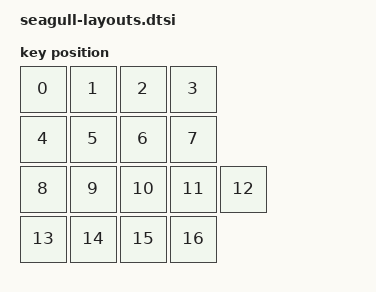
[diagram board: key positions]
#include <physical_layouts.dtsi>

/ {
    default_layout: physical_layout {
        compatible = "zmk,physical-layout";
        display-name = "Default";

        kscan = <&default_kscan>;
        transform = <&default_transform>;

        keys  //                     w   h    x    y     rot    rx    ry
            = <&key_physical_attrs 100 100    0    0       0     0     0>
            , <&key_physical_attrs 100 100  100    0       0     0     0>
            , <&key_physical_attrs 100 100  200    0       0     0     0>
            , <&key_physical_attrs 100 100  300    0       0     0     0>
            , <&key_physical_attrs 100 100    0  100       0     0     0>
            , <&key_physical_attrs 100 100  100  100       0     0     0>
            , <&key_physical_attrs 100 100  200  100       0     0     0>
            , <&key_physical_attrs 100 100  300  100       0     0     0>
            , <&key_physical_attrs 100 100    0  200       0     0     0>
            , <&key_physical_attrs 100 100  100  200       0     0     0>
            , <&key_physical_attrs 100 100  200  200       0     0     0>
            , <&key_physical_attrs 100 100  300  200       0     0     0>
            , <&key_physical_attrs 100 100  400  200       0     0     0>
            , <&key_physical_attrs 100 100    0  300       0     0     0>
            , <&key_physical_attrs 100 100  100  300       0     0     0>
            , <&key_physical_attrs 100 100  200  300       0     0     0>
            , <&key_physical_attrs 100 100  300  300       0     0     0>
            ;
    };

    seagull_position_map {
        compatible = "zmk,physical-layout-position-map";
        complete;
        full: full {
            physical-layout = <&default_layout>;
            positions
                = < 0  1  2  3>
                , < 4  5  6  7>
                , < 8  9 10 11 12>
                , <13 14 15 16>
                ;
        };
    };
};
